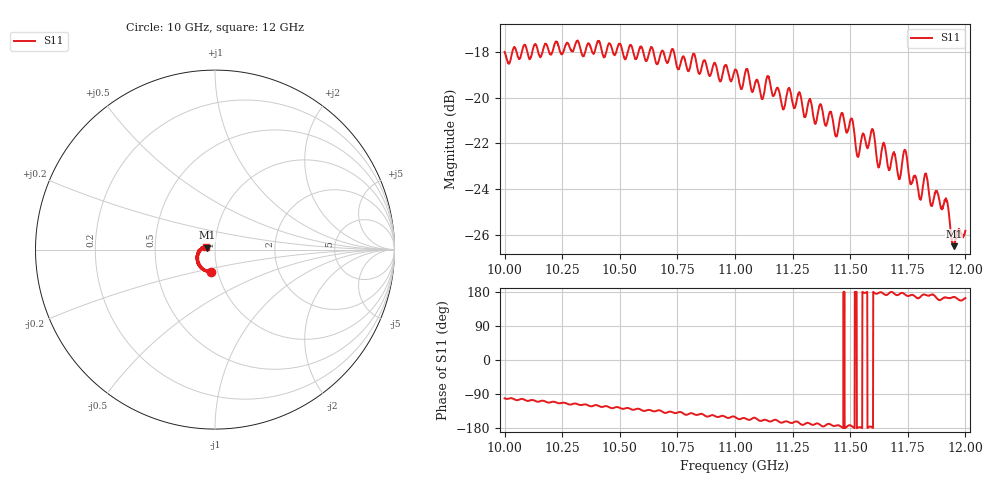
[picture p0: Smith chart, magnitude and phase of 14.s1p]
[Version] 2.0
! Rohde & Schwarz Vector Network Analyzer
! Rohde-Schwarz,ZNL20-2Port,1323001220200009,1.71.1.10-23.02.1.238
! Port Assignments:
! Nominal Port -> Actual Test Port
!  1 -> 1
! Created: GMT 2024-09-04 10:36:32
# Hz S DB R 50
[Number of Ports] 1
! freq[Hz]  S11[mag dB]  S11[ang]
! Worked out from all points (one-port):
!   2001 points, 10 GHz to 12 GHz, reference 50 ohm
!   lowest |S11| = -26.5 dB at 11.95 GHz (marker M1), VSWR 1.10, Z = 45.6 + j1.02 ohm
!   |S11| at or under -10 dB: start of sweep to end of sweep
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[Number of Frequencies] 28
[Network Data]
1e10  -17.99 -101.3
1.025e10  -18.07 -113.0
1.05e10  -17.63 -126.3
1.0662e10  -18.52 -133.5
1.0729e10  -17.87 -137.8
1.075e10  -18.71 -139.1
1.082e10  -18.08 -142.1
1.0845e10  -18.95 -143.1
1.1e10  -18.76 -150.2
1.1027e10  -19.62 -155.0
1.125e10  -20.22 -165.8
1.1415e10  -20.61 -170.3
1.1439e10  -21.70 -173.1
1.1463e10  -20.67 -177.2
1.15e10  -21.01 -172.0
1.1533e10  -22.58 -178.5
1.1596e10  -21.37 -178.1
1.1623e10  -23.05 177.0
1.1646e10  -21.98 174.2
1.1712e10  -23.52 173.1
1.1736e10  -22.28 173.7
1.175e10  -22.94 169.0
1.1803e10  -24.42 165.6
1.1828e10  -23.32 171.8
1.1852e10  -24.72 172.2
1.1917e10  -24.45 164.9
1.195e10  -26.50 166.3
1.2e10  -25.82 163.2
[End]
